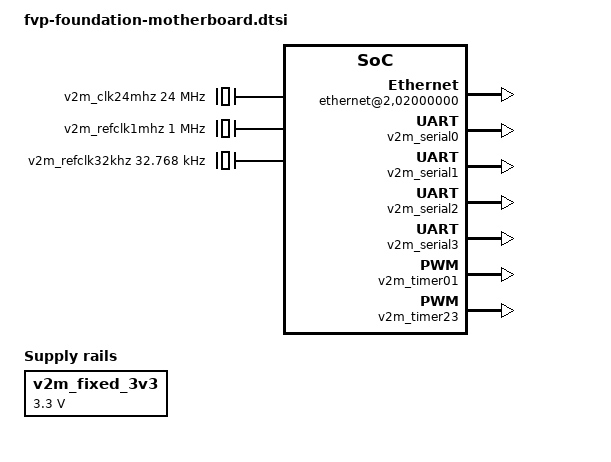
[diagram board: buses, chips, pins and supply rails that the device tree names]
/*
 * Copyright (c) 2013-2017, ARM Limited and Contributors. All rights reserved.
 *
 * SPDX-License-Identifier: BSD-3-Clause
 */

	motherboard {
		arm,v2m-memory-map = "rs1";
		compatible = "arm,vexpress,v2m-p1", "simple-bus";
		#address-cells = <2>; /* SMB chipselect number and offset */
		#size-cells = <1>;
		ranges;

		ethernet@2,02000000 {
			compatible = "smsc,lan91c111";
			reg = <2 0x02000000 0x10000>;
			interrupts = <0 15 4>;
		};

		v2m_clk24mhz: clk24mhz {
			compatible = "fixed-clock";
			#clock-cells = <0>;
			clock-frequency = <24000000>;
			clock-output-names = "v2m:clk24mhz";
		};

		v2m_refclk1mhz: refclk1mhz {
			compatible = "fixed-clock";
			#clock-cells = <0>;
			clock-frequency = <1000000>;
			clock-output-names = "v2m:refclk1mhz";
		};

		v2m_refclk32khz: refclk32khz {
			compatible = "fixed-clock";
			#clock-cells = <0>;
			clock-frequency = <32768>;
			clock-output-names = "v2m:refclk32khz";
		};

		iofpga@3,00000000 {
			compatible = "arm,amba-bus", "simple-bus";
			#address-cells = <1>;
			#size-cells = <1>;
			ranges = <0 3 0 0x200000>;

			v2m_sysreg: sysreg@010000 {
				compatible = "arm,vexpress-sysreg";
				reg = <0x010000 0x1000>;
				gpio-controller;
				#gpio-cells = <2>;
			};

			v2m_sysctl: sysctl@020000 {
				compatible = "arm,sp810", "arm,primecell";
				reg = <0x020000 0x1000>;
				clocks = <&v2m_refclk32khz>, <&v2m_refclk1mhz>, <&v2m_clk24mhz>;
				clock-names = "refclk", "timclk", "apb_pclk";
				#clock-cells = <1>;
				clock-output-names = "timerclken0", "timerclken1", "timerclken2", "timerclken3";
			};

			v2m_serial0: uart@090000 {
				compatible = "arm,pl011", "arm,primecell";
				reg = <0x090000 0x1000>;
				interrupts = <0 5 4>;
				clocks = <&v2m_clk24mhz>, <&v2m_clk24mhz>;
				clock-names = "uartclk", "apb_pclk";
			};

			v2m_serial1: uart@0a0000 {
				compatible = "arm,pl011", "arm,primecell";
				reg = <0x0a0000 0x1000>;
				interrupts = <0 6 4>;
				clocks = <&v2m_clk24mhz>, <&v2m_clk24mhz>;
				clock-names = "uartclk", "apb_pclk";
			};

			v2m_serial2: uart@0b0000 {
				compatible = "arm,pl011", "arm,primecell";
				reg = <0x0b0000 0x1000>;
				interrupts = <0 7 4>;
				clocks = <&v2m_clk24mhz>, <&v2m_clk24mhz>;
				clock-names = "uartclk", "apb_pclk";
			};

			v2m_serial3: uart@0c0000 {
				compatible = "arm,pl011", "arm,primecell";
				reg = <0x0c0000 0x1000>;
				interrupts = <0 8 4>;
				clocks = <&v2m_clk24mhz>, <&v2m_clk24mhz>;
				clock-names = "uartclk", "apb_pclk";
			};

			wdt@0f0000 {
				compatible = "arm,sp805", "arm,primecell";
				reg = <0x0f0000 0x1000>;
				interrupts = <0 0 4>;
				clocks = <&v2m_refclk32khz>, <&v2m_clk24mhz>;
				clock-names = "wdogclk", "apb_pclk";
			};

			v2m_timer01: timer@110000 {
				compatible = "arm,sp804", "arm,primecell";
				reg = <0x110000 0x1000>;
				interrupts = <0 2 4>;
				clocks = <&v2m_sysctl 0>, <&v2m_sysctl 1>, <&v2m_clk24mhz>;
				clock-names = "timclken1", "timclken2", "apb_pclk";
			};

			v2m_timer23: timer@120000 {
				compatible = "arm,sp804", "arm,primecell";
				reg = <0x120000 0x1000>;
				interrupts = <0 3 4>;
				clocks = <&v2m_sysctl 2>, <&v2m_sysctl 3>, <&v2m_clk24mhz>;
				clock-names = "timclken1", "timclken2", "apb_pclk";
			};

			rtc@170000 {
				compatible = "arm,pl031", "arm,primecell";
				reg = <0x170000 0x1000>;
				interrupts = <0 4 4>;
				clocks = <&v2m_clk24mhz>;
				clock-names = "apb_pclk";
			};

			virtio_block@0130000 {
				compatible = "virtio,mmio";
				reg = <0x130000 0x1000>;
				interrupts = <0 0x2a 4>;
			};
		};

		v2m_fixed_3v3: fixedregulator@0 {
			compatible = "regulator-fixed";
			regulator-name = "3V3";
			regulator-min-microvolt = <3300000>;
			regulator-max-microvolt = <3300000>;
			regulator-always-on;
		};


		mcc {
			compatible = "arm,vexpress,config-bus", "simple-bus";
			arm,vexpress,config-bridge = <&v2m_sysreg>;

			/*
			 * Not supported in FVP models
			 *
			 * reset@0 {
			 * 	compatible = "arm,vexpress-reset";
			 * 	arm,vexpress-sysreg,func = <5 0>;
			 * };
			 */

			muxfpga@0 {
				compatible = "arm,vexpress-muxfpga";
				arm,vexpress-sysreg,func = <7 0>;
			};

			/*
			 * Not used - Superseded by PSCI sys_poweroff
			 *
			 * shutdown@0 {
			 * 	compatible = "arm,vexpress-shutdown";
			 * 	arm,vexpress-sysreg,func = <8 0>;
			 * };
			 */

			/*
			 * Not used - Superseded by PSCI sys_reset
			 *
			 * reboot@0 {
			 * 	compatible = "arm,vexpress-reboot";
			 * 	arm,vexpress-sysreg,func = <9 0>;
			 * };
			 */

			dvimode@0 {
				compatible = "arm,vexpress-dvimode";
				arm,vexpress-sysreg,func = <11 0>;
			};
		};
	};
